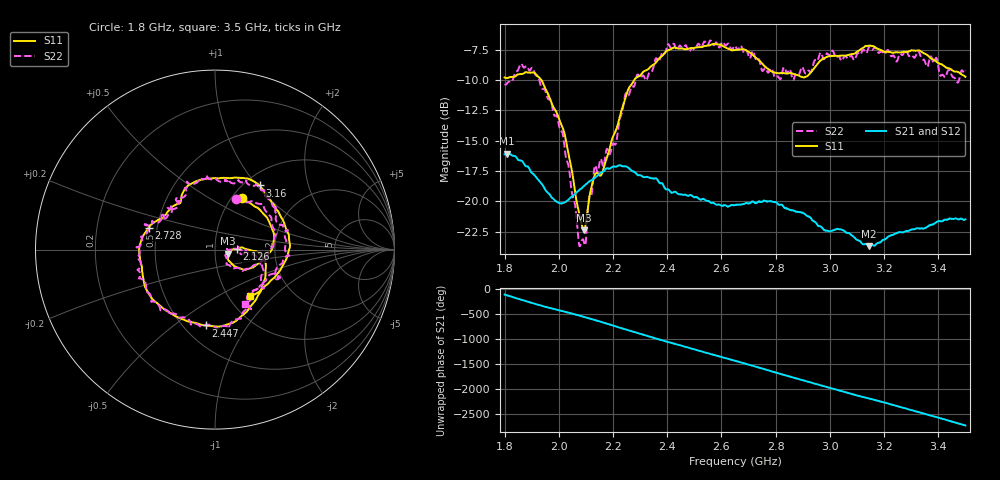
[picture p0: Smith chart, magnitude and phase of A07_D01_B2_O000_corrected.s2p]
! Created with skrf 1.9.0 (http://scikit-rf.org).
# Hz S RI R 50.0
!freq ReS11 ImS11 ReS21 ImS21 ReS12 ImS12 ReS22 ImS22
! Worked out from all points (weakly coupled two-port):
!   1601 points, 1.8 GHz to 3.5 GHz, reference 50 ohm
!   highest |S21| = -16.09 dB at 1.81 GHz (marker M1); lowest = -23.7 dB at 3.144 GHz (marker M2)
!   lowest |S11| = -22.4 dB at 2.092 GHz (marker M3), VSWR 1.16, Z = 57.7 - j2.65 ohm
!   |S11| at or under -10 dB: 1.935 GHz to 2.278 GHz (343.1 MHz wide, 16.3 % of centre)
!   |S22| runs from -23.7 to -6.8 dB; largest |S21 - S12| = 0.0032
!   S11 on the Smith chart (normalised r, x): 1.8 GHz: 1.12, +0.71; 2.126 GHz: 1.28, +0.01; 2.447 GHz: 0.64, -0.66; 2.728 GHz: 0.45, +0.13; 3.16 GHz: 1.17, +1.03; 3.5 GHz: 1.25, -0.73
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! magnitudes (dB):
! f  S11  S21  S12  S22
! 1.8 GHz  -9.8  -16.1  -16.1  -10.3
! 1.81 GHz  -9.9  -16.1  -16.1  -10.3
! 1.901 GHz  -9.4  -17.7  -17.6  -9.0
! 1.968 GHz  -11.6  -19.5  -19.6  -11.6
! 2.021 GHz  -14.4  -20.1  -20.1  -15.5
! 2.084 GHz  -21.8  -19.0  -18.9  -23.3
! 2.092 GHz  -22.4  -18.7  -18.8  -23.3
! 2.126 GHz  -18.3  -18.2  -18.2  -18.3
! 2.208 GHz  -14.3  -17.2  -17.1  -15.3
! 2.259 GHz  -10.7  -17.3  -17.3  -11.2
! 2.367 GHz  -8.3  -18.4  -18.3  -8.5
! 2.447 GHz  -7.4  -19.4  -19.4  -7.2
! 2.65 GHz  -7.5  -20.3  -20.3  -7.2
! 2.728 GHz  -8.2  -20.2  -20.2  -8.4
! 2.81 GHz  -9.5  -20.3  -20.2  -9.8
! 2.934 GHz  -9.3  -21.5  -21.5  -9.2
! 3.144 GHz  -7.2  -23.7  -23.6  -7.3
! 3.16 GHz  -7.2  -23.6  -23.6  -7.5
! 3.217 GHz  -7.7  -22.9  -22.9  -7.6
! 3.327 GHz  -7.6  -22.2  -22.2  -7.6
! 3.468 GHz  -9.3  -21.4  -21.4  -10.1
! 3.5 GHz  -9.7  -21.5  -21.5  -9.2
